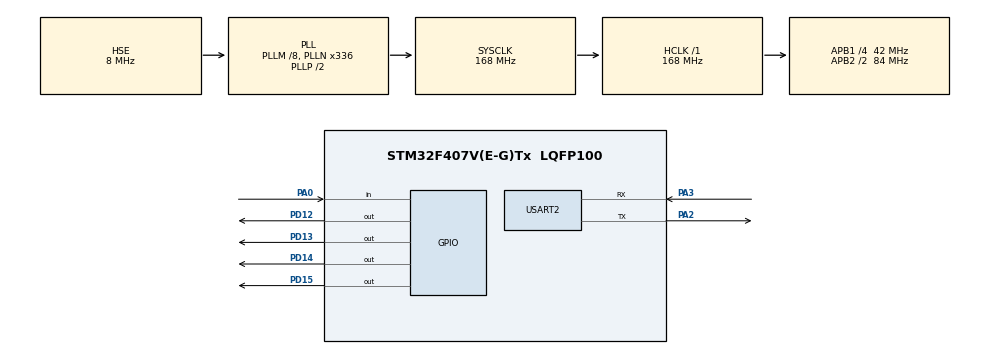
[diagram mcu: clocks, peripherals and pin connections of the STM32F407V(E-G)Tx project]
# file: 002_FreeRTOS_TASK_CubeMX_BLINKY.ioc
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FREERTOS.Tasks01=defaultTask,24,128,StartDefaultTask,Default,NULL,Dynamic,NULL,NULL
FREERTOS.configUSE_NEWLIB_REENTRANT=1
Mcu.Family=STM32F4
Mcu.Name=STM32F407V(E-G)Tx
Mcu.Package=LQFP100
NVIC.PriorityGroup=NVIC_PRIORITYGROUP_4
NVIC.TIM8_TRG_COM_TIM14_IRQn=true\:15\:0\:false\:false\:true\:false\:false\:true\:true
NVIC.TimeBase=TIM8_TRG_COM_TIM14_IRQn
NVIC.TimeBaseIP=TIM14
PA0-WKUP.Signal=GPIO_Input
PA2.Mode=Asynchronous
PA2.Signal=USART2_TX
PA3.Mode=Asynchronous
PA3.Signal=USART2_RX
PD12.Signal=GPIO_Output
PD13.Signal=GPIO_Output
PD14.Signal=GPIO_Output
PD15.Signal=GPIO_Output
PH0-OSC_IN.Mode=HSE-External-Oscillator
PH0-OSC_IN.Signal=RCC_OSC_IN
PH1-OSC_OUT.Mode=HSE-External-Oscillator
PH1-OSC_OUT.Signal=RCC_OSC_OUT
ProjectManager.HeapSize=0x200
ProjectManager.StackSize=0x400
ProjectManager.TargetToolchain=STM32CubeIDE
RCC.48MHZClocksFreq_Value=48000000
RCC.AHBFreq_Value=168000000
RCC.APB1CLKDivider=RCC_HCLK_DIV4
RCC.APB1Freq_Value=42000000
RCC.APB1TimFreq_Value=84000000
RCC.APB2CLKDivider=RCC_HCLK_DIV2
RCC.APB2Freq_Value=84000000
RCC.APB2TimFreq_Value=168000000
RCC.CortexFreq_Value=168000000
RCC.HCLKFreq_Value=168000000
RCC.HSE_VALUE=8000000
RCC.HSI_VALUE=16000000
RCC.PLLM=8
RCC.PLLN=336
RCC.PLLQ=7
RCC.PLLSourceVirtual=RCC_PLLSOURCE_HSE
RCC.SYSCLKFreq_VALUE=168000000
RCC.SYSCLKSource=RCC_SYSCLKSOURCE_PLLCLK
RCC.VCOOutputFreq_Value=336000000
USART2.VirtualMode=VM_ASYNC
VP_FREERTOS_VS_CMSIS_V2.Mode=CMSIS_V2
VP_SYS_VS_tim14.Mode=TIM14
board=STM32F407G-DISC1

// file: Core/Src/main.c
/* USER CODE BEGIN Header */
/**
  ******************************************************************************
  * @file           : main.c
  * @brief          : Main program body
  ******************************************************************************
  * @attention
  *
  * Copyright (c) 2023 STMicroelectronics.
  * All rights reserved.
  *
  * This software is licensed under terms that can be found in the LICENSE file
  * in the root directory of this software component.
  * If no LICENSE file comes with this software, it is provided AS-IS.
  *
  ******************************************************************************
  */
/* USER CODE END Header */
#include "main.h"
#include "cmsis_os.h"

/* USER CODE BEGIN Includes */
#include "FreeRTOS.h"
#include "task.h"
/* USER CODE END Includes */

UART_HandleTypeDef huart2;

/* Definitions for defaultTask */
//osThreadId_t defaultTaskHandle;
//const osThreadAttr_t defaultTask_attributes = {
//  .name = "defaultTask",
//  .stack_size = 128 * 4,
//  .priority = (osPriority_t) osPriorityNormal,
//}; CMSIS-OS kullanmadığımız için kapatıyoruz

void SystemClock_Config(void);
static void MX_GPIO_Init(void);
static void MX_USART2_UART_Init(void);
void StartDefaultTask(void *argument);

/* USER CODE BEGIN PFP */
void Task1(void *pvParameters);
void Task2(void *pvParameters);
/* USER CODE END PFP */

/* USER CODE BEGIN 0 */
//void Task1(void *pvParameters)
//{
//	while(1)
//	{
//		HAL_GPIO_TogglePin(GPIOD, GPIO_PIN_13);
//					vTaskDelay(500);
//	}
//}
//void Task2(void *pvParameters)
//{
//	while(1)
//		{
//			HAL_GPIO_TogglePin(GPIOD, GPIO_PIN_12);
//			vTaskDelay(500);
//		}
//}

void Task1(void *pvParameters)
{
	const char *pcTaskName = "Gorev 1 calisiyor\r\n";
	for(;;)
	{
		HAL_UART_Transmit(&huart2, (uint8_t *)pcTaskName, 19, 0xFFFF);
		HAL_GPIO_WritePin(GPIOD, GPIO_PIN_12, GPIO_PIN_SET);
		for(volatile uint32_t i = 0; i < 1000; i++);
	}
}
void Task2(void *pvParameters)
{
	const char *pcTaskName = "Gorev 2 calisiyor\r\n";
	for(;;)
	{
		HAL_UART_Transmit(&huart2, (uint8_t *)pcTaskName, 19, 0xFFFF);
		HAL_GPIO_WritePin(GPIOD, GPIO_PIN_12, GPIO_PIN_RESET);
		for(volatile uint32_t i = 0; i < 1000; i++);
	}
}
/* USER CODE END 0 */

int main(void)
{

  /* MCU Configuration--------------------------------------------------------*/

  /* Reset of all peripherals, Initializes the Flash interface and the Systick. */
  HAL_Init();

  /* Configure the system clock */
  SystemClock_Config();

  /* Initialize all configured peripherals */
  MX_GPIO_Init();
  MX_USART2_UART_Init();
  /* USER CODE BEGIN 2 */
  HAL_UART_Transmit(&huart2, (uint8_t *) "UART BASLADI\r\n", 14, 0xFFFF);

  xTaskCreate(Task1, /* görevi uygulayan fonksiyon */
  	  	  	  "Task 1",/*Görevin adı */
			  configMINIMAL_STACK_SIZE, /*Stack depth */
			  NULL, /*Gorev parametresi kullanılmadı*/
			  1, 	/* Gorevin onceligi */
			  NULL	/* Task handle yok */);
  xTaskCreate(Task2, "Task 2", configMINIMAL_STACK_SIZE, NULL, 1, NULL);
  vTaskStartScheduler();	// Start Scheduler
  /* USER CODE END 2 */

  /* Init scheduler */
  //osKernelInitialize();	CMSIS-OS kullanmadığımız için kapatıyoruz

  /* Create the thread(s) */
  /* creation of defaultTask */
  //defaultTaskHandle = osThreadNew(StartDefaultTask, NULL, &defaultTask_attributes); CMSIS-OS kullanmadığımız için kapatıyoruz

  /* Start scheduler */
  //osKernelStart();	CMSIS-OS kullanmadığımız için kapatıyoruz
  /* We should never get here as control is now taken by the scheduler */
  /* Infinite loop */
  while (1)
  {

  }
}

void SystemClock_Config(void)
{
  RCC_OscInitTypeDef RCC_OscInitStruct = {0};
  RCC_ClkInitTypeDef RCC_ClkInitStruct = {0};

  /** Configure the main internal regulator output voltage
  */
  __HAL_RCC_PWR_CLK_ENABLE();
  __HAL_PWR_VOLTAGESCALING_CONFIG(PWR_REGULATOR_VOLTAGE_SCALE1);

  /** Initializes the RCC Oscillators according to the specified parameters
  * in the RCC_OscInitTypeDef structure.
  */
  RCC_OscInitStruct.OscillatorType = RCC_OSCILLATORTYPE_HSE;
  RCC_OscInitStruct.HSEState = RCC_HSE_ON;
  RCC_OscInitStruct.PLL.PLLState = RCC_PLL_ON;
  RCC_OscInitStruct.PLL.PLLSource = RCC_PLLSOURCE_HSE;
  RCC_OscInitStruct.PLL.PLLM = 8;
  RCC_OscInitStruct.PLL.PLLN = 336;
  RCC_OscInitStruct.PLL.PLLP = RCC_PLLP_DIV2;
  RCC_OscInitStruct.PLL.PLLQ = 7;
  if (HAL_RCC_OscConfig(&RCC_OscInitStruct) != HAL_OK)
  {
    Error_Handler();
  }

  /** Initializes the CPU, AHB and APB buses clocks
  */
  RCC_ClkInitStruct.ClockType = RCC_CLOCKTYPE_HCLK|RCC_CLOCKTYPE_SYSCLK
                              |RCC_CLOCKTYPE_PCLK1|RCC_CLOCKTYPE_PCLK2;
  RCC_ClkInitStruct.SYSCLKSource = RCC_SYSCLKSOURCE_PLLCLK;
  RCC_ClkInitStruct.AHBCLKDivider = RCC_SYSCLK_DIV1;
  RCC_ClkInitStruct.APB1CLKDivider = RCC_HCLK_DIV4;
  RCC_ClkInitStruct.APB2CLKDivider = RCC_HCLK_DIV2;

  if (HAL_RCC_ClockConfig(&RCC_ClkInitStruct, FLASH_LATENCY_5) != HAL_OK)
  {
    Error_Handler();
  }
}

static void MX_USART2_UART_Init(void)
{

  huart2.Instance = USART2;
  huart2.Init.BaudRate = 115200;
  huart2.Init.WordLength = UART_WORDLENGTH_8B;
  huart2.Init.StopBits = UART_STOPBITS_1;
  huart2.Init.Parity = UART_PARITY_NONE;
  huart2.Init.Mode = UART_MODE_TX_RX;
  huart2.Init.HwFlowCtl = UART_HWCONTROL_NONE;
  huart2.Init.OverSampling = UART_OVERSAMPLING_16;
  if (HAL_UART_Init(&huart2) != HAL_OK)
  {
    Error_Handler();
  }

}

static void MX_GPIO_Init(void)
{
  GPIO_InitTypeDef GPIO_InitStruct = {0};

  /* GPIO Ports Clock Enable */
  __HAL_RCC_GPIOH_CLK_ENABLE();
  __HAL_RCC_GPIOA_CLK_ENABLE();
  __HAL_RCC_GPIOD_CLK_ENABLE();

  /*Configure GPIO pin Output Level */
  HAL_GPIO_WritePin(GPIOD, GPIO_PIN_12|GPIO_PIN_13|GPIO_PIN_14|GPIO_PIN_15, GPIO_PIN_RESET);

  /*Configure GPIO pin : PA0 */
  GPIO_InitStruct.Pin = GPIO_PIN_0;
  GPIO_InitStruct.Mode = GPIO_MODE_INPUT;
  GPIO_InitStruct.Pull = GPIO_NOPULL;
  HAL_GPIO_Init(GPIOA, &GPIO_InitStruct);

  /*Configure GPIO pins : PD12 PD13 PD14 PD15 */
  GPIO_InitStruct.Pin = GPIO_PIN_12|GPIO_PIN_13|GPIO_PIN_14|GPIO_PIN_15;
  GPIO_InitStruct.Mode = GPIO_MODE_OUTPUT_PP;
  GPIO_InitStruct.Pull = GPIO_NOPULL;
  GPIO_InitStruct.Speed = GPIO_SPEED_FREQ_LOW;
  HAL_GPIO_Init(GPIOD, &GPIO_InitStruct);

}

void StartDefaultTask(void *argument)
{
  for(;;)
  {
    osDelay(1);
  }
}

void HAL_TIM_PeriodElapsedCallback(TIM_HandleTypeDef *htim)
{
  if (htim->Instance == TIM14) {
    HAL_IncTick();
  }
}

void Error_Handler(void)
{
  __disable_irq();
  while (1)
  {
  }
}
